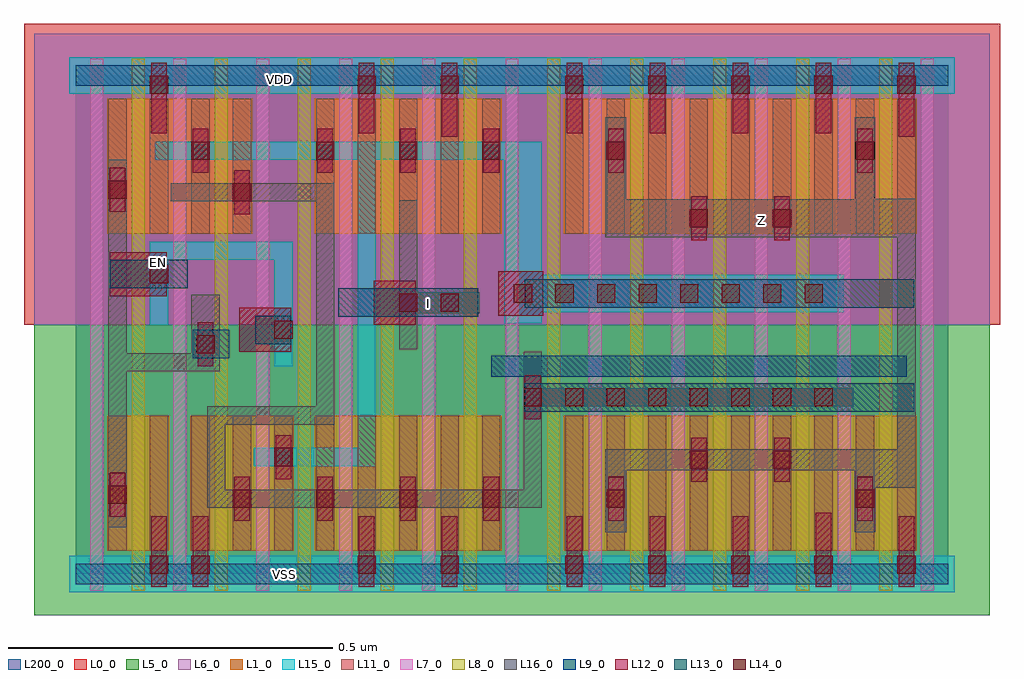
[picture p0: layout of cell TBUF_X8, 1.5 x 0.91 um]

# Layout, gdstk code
import gdstk
lib = gdstk.Library(unit=1e-6, precision=1e-09)
def R(c, l, rs):  # rectangles x0, y0, x1, y1
    for r in rs: c.add(gdstk.rectangle(r[:2], r[2:], *l))
def A(c, l, x, y, w, h, nx, ny, dx, dy):  # array of equal rectangles
    R(c, l, [(x+i*dx, y+j*dy, x+i*dx+w, y+j*dy+h) for i in range(nx) for j in range(ny)])
def P(c, l, *ps):  # polygons
    for p in ps: c.add(gdstk.Polygon(p, *l))
L0_0 = (0, 0)
L1_0 = (1, 0)
L5_0 = (5, 0)
L6_0 = (6, 0)
L7_0 = (7, 0)
L8_0 = (8, 0)
L9_0 = (9, 0)
L11_0 = (11, 0)
L12_0 = (12, 0)
L13_0 = (13, 0)
L14_0 = (14, 0)
L15_0 = (15, 0)
L16_0 = (16, 0)
L200_0 = (200, 0)

tbuf_x8 = lib.new_cell('TBUF_X8')
R(tbuf_x8, L0_0, [(-0.08,0.384,1.424,0.848)])
R(tbuf_x8, L1_0, [(0.048,0.036,0.144,0.244), (0.176,0.036,0.336,0.244), (0.368,0.036,0.656,0.244), (0.752,0.036,1.296,0.244), (0.048,0.524,0.272,0.732), (0.368,0.524,0.656,0.732), (0.752,0.524,1.296,0.732)])
R(tbuf_x8, L5_0, [(-0.064,-0.064,1.408,0.384)])
R(tbuf_x8, L6_0, [(-0.064,0.384,1.408,0.832)])
A(tbuf_x8, L7_0, 0.022, -0.026, 0.02, 0.82, 11, 1, 0.128, 0)
A(tbuf_x8, L8_0, 0.086, -0.026, 0.02, 0.82, 10, 1, 0.128, 0)
R(tbuf_x8, L9_0, [(0,-0.016,1.344,0.016), (0.64,0.304,1.28,0.336), (0,0.752,1.344,0.784)])
A(tbuf_x8, L11_0, 0.05, 0.036, 0.028, 0.208, 10, 1, 0.064, 0)
A(tbuf_x8, L11_0, 0.754, 0.036, 0.028, 0.208, 9, 2, 0.064, 0.488)
A(tbuf_x8, L11_0, 0.05, 0.524, 0.028, 0.208, 4, 1, 0.064, 0)
A(tbuf_x8, L11_0, 0.37, 0.524, 0.028, 0.208, 5, 1, 0.064, 0)
A(tbuf_x8, L12_0, 0.756, -0.02, 0.024, 0.109, 3, 1, 0.128, 0)
A(tbuf_x8, L12_0, 0.244, 0.082, 0.024, 0.068, 4, 1, 0.128, 0)
A(tbuf_x8, L12_0, 0.372, 0.618, 0.024, 0.068, 3, 1, 0.128, 0)
A(tbuf_x8, L12_0, 0.116, 0.679, 0.024, 0.109, 3, 1, 0.32, 0)
A(tbuf_x8, L12_0, 0.884, 0.679, 0.024, 0.109, 3, 1, 0.128, 0)
R(tbuf_x8, L12_0, [(0.116,-0.02,0.14,0.089), (0.18,-0.02,0.204,0.089), (0.436,-0.02,0.46,0.089), (0.564,-0.02,0.588,0.089), (1.14,-0.02,1.164,0.094), (1.268,-0.02,1.292,0.089), (0.82,0.082,0.844,0.15), (1.204,0.082,1.228,0.15), (0.052,0.088,0.076,0.156), (0.948,0.142,0.972,0.21), (1.076,0.142,1.1,0.21), (0.308,0.146,0.332,0.214), (0.692,0.238,0.716,0.306), (0.188,0.32,0.212,0.388), (0.252,0.342,0.332,0.41), (0.459,0.384,0.524,0.452), (0.651,0.398,0.72,0.466), (0.052,0.428,0.14,0.496), (0.948,0.514,0.972,0.582), (1.076,0.514,1.1,0.582), (0.244,0.554,0.268,0.622), (0.052,0.558,0.076,0.626), (0.18,0.618,0.204,0.686), (0.82,0.618,0.844,0.686), (1.204,0.618,1.228,0.686), (0.564,0.674,0.588,0.788), (1.268,0.674,1.292,0.788)])
R(tbuf_x8, L13_0, [(0.692,0.25,1.292,0.294), (0.18,0.332,0.236,0.376), (0.276,0.354,0.332,0.398), (0.404,0.396,0.62,0.44), (0.692,0.41,1.292,0.454), (0.052,0.44,0.172,0.484)])
A(tbuf_x8, L14_0, 0.754, 0, 0.028, 0.028, 5, 2, 0.128, 0.74)
A(tbuf_x8, L14_0, 0.242, 0.102, 0.028, 0.028, 4, 1, 0.128, 0)
A(tbuf_x8, L14_0, 0.69, 0.258, 0.028, 0.028, 8, 1, 0.064, 0)
A(tbuf_x8, L14_0, 0.675, 0.418, 0.028, 0.028, 8, 1, 0.064, 0)
A(tbuf_x8, L14_0, 0.37, 0.638, 0.028, 0.028, 3, 1, 0.128, 0)
R(tbuf_x8, L14_0, [(0.114,0,0.142,0.028), (0.178,0,0.206,0.028), (0.434,0,0.462,0.028), (0.562,0,0.59,0.028), (0.818,0.102,0.846,0.13), (1.202,0.102,1.23,0.13), (0.05,0.108,0.078,0.136), (0.946,0.162,0.974,0.19), (1.074,0.162,1.102,0.19), (0.306,0.166,0.334,0.194), (0.186,0.34,0.214,0.368), (0.306,0.362,0.334,0.39), (0.498,0.404,0.526,0.432), (0.562,0.404,0.59,0.432), (0.114,0.448,0.142,0.476), (0.946,0.534,0.974,0.562), (1.074,0.534,1.102,0.562), (0.242,0.574,0.27,0.602), (0.05,0.578,0.078,0.606), (0.178,0.638,0.206,0.666), (0.818,0.638,0.846,0.666), (1.202,0.638,1.23,0.666), (0.114,0.74,0.142,0.768), (0.434,0.74,0.462,0.768), (0.562,0.74,0.59,0.768)])
R(tbuf_x8, L15_0, [(-0.01,-0.028,1.354,0.028), (-0.01,0.74,1.354,0.796)])
P(tbuf_x8, L15_0, [(0.114,0.384),(0.142,0.384),(0.142,0.484),(0.306,0.484),(0.306,0.32),(0.334,0.32),(0.334,0.512),(0.114,0.512)],
  [(0.122,0.638),(0.434,0.638),(0.434,0.194),(0.274,0.194),(0.274,0.166),(0.462,0.166),(0.462,0.638),(0.66,0.638),(0.66,0.386),(0.718,0.386),(0.718,0.403),(1.183,0.403),(1.183,0.461),(0.718,0.461),(0.718,0.666),(0.122,0.666)])
P(tbuf_x8, L16_0, [(0.05,0.072),(0.078,0.072),(0.078,0.312),(0.222,0.312),(0.222,0.43),(0.178,0.43),(0.178,0.34),(0.078,0.34),(0.078,0.638),(0.05,0.638)],
  [(0.498,0.346),(0.526,0.346),(0.526,0.402),(0.622,0.402),(0.622,0.434),(0.526,0.434),(0.526,0.576),(0.498,0.576)],
  [(0.146,0.574),(0.37,0.574),(0.37,0.258),(0.202,0.258),(0.202,0.102),(0.718,0.102),(0.718,0.258),(1.198,0.258),(1.198,0.286),(0.718,0.286),(0.718,0.342),(0.69,0.342),(0.69,0.13),(0.23,0.13),(0.23,0.23),(0.398,0.23),(0.398,0.602),(0.146,0.602)],
  [(0.816,0.519),(1.266,0.519),(1.266,0.192),(0.816,0.192),(0.816,0.064),(0.848,0.064),(0.848,0.16),(1.2,0.16),(1.2,0.064),(1.232,0.064),(1.232,0.133),(1.294,0.133),(1.294,0.578),(1.232,0.578),(1.232,0.704),(1.2,0.704),(1.2,0.577),(0.848,0.577),(0.848,0.704),(0.816,0.704)])
R(tbuf_x8, L200_0, [(0,0,1.344,0.768)])
tbuf_x8.add(gdstk.Label('VSS', (0.322,-0.001), layer=15, texttype=20))
tbuf_x8.add(gdstk.Label('EN', (0.128,0.48), layer=15, texttype=20))
tbuf_x8.add(gdstk.Label('VDD', (0.314,0.762), layer=15, texttype=20))
tbuf_x8.add(gdstk.Label('Z', (1.056,0.544), layer=16, texttype=20))
tbuf_x8.add(gdstk.Label('I', (0.544,0.416), layer=16, texttype=20))

lib.write_gds('TBUF_X8.gds')
